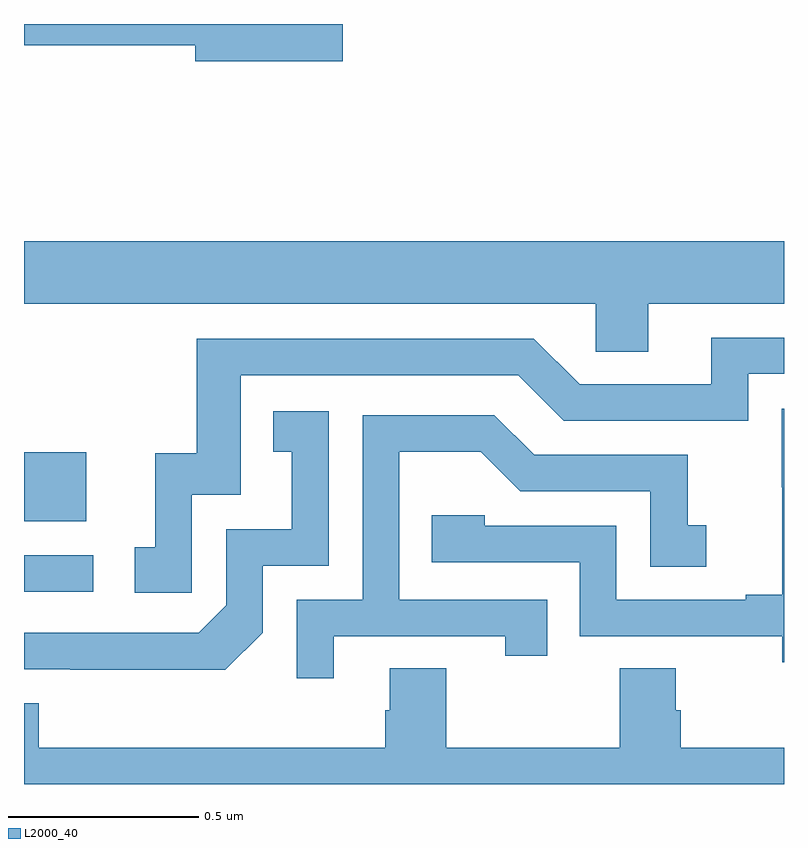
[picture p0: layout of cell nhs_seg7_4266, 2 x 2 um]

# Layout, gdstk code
import gdstk
lib = gdstk.Library(unit=1e-6, precision=1e-09)
def R(c, l, rs):  # rectangles x0, y0, x1, y1
    for r in rs: c.add(gdstk.rectangle(r[:2], r[2:], *l))
def P(c, l, *ps):  # polygons
    for p in ps: c.add(gdstk.Polygon(p, *l))
L2000_40 = (2000, 40)

nhs_seg7_4266 = lib.new_cell('nhs_seg7_4266')
R(nhs_seg7_4266, L2000_40, [(170,1018.506,170.182,1018.602), (170,1018.691,170.164,1018.873)])
P(nhs_seg7_4266, L2000_40, [(170.839,1020),(170,1020),(170,1019.944),(170.45,1019.944),(170.45,1019.902),(170.839,1019.902)],
  [(171.643,1019.264),(172,1019.264),(172,1019.428),(170,1019.428),(170,1019.264),(171.504,1019.264),(171.504,1019.137),(171.643,1019.137)],
  [(170.442,1018.761),(170.571,1018.761),(170.571,1019.076),(171.3,1019.076),(171.42,1018.956),(171.906,1018.956),(171.906,1019.079),(172,1019.079),(172,1019.175),(171.809,1019.175),(171.809,1019.052),(171.462,1019.052),(171.342,1019.172),(170.455,1019.172),(170.455,1018.87),(170.345,1018.87),(170.345,1018.623),(170.292,1018.623),(170.292,1018.503),(170.442,1018.503)],
  [(172,1018.987),(171.994,1018.987),(171.994,1018.781),(171.995,1018.781),(171.995,1018.498),(171.899,1018.498),(171.899,1018.485),(171.558,1018.485),(171.558,1018.68),(171.213,1018.68),(171.213,1018.707),(171.073,1018.707),(171.073,1018.584),(171.462,1018.584),(171.462,1018.389),(171.996,1018.389),(171.996,1018.321),(172,1018.321)],
  [(170.628,1018.398),(170.628,1018.575),(170.802,1018.575),(170.802,1018.981),(170.656,1018.981),(170.656,1018.875),(170.705,1018.875),(170.705,1018.671),(170.532,1018.671),(170.532,1018.47),(170.46,1018.398),(170,1018.398),(170,1018.302),(170.122,1018.302),(170.122,1018.301),(170.53,1018.301)],
  [(170.815,1018.389),(171.266,1018.389),(171.266,1018.338),(171.377,1018.338),(171.377,1018.485),(170.988,1018.485),(170.988,1018.874),(171.202,1018.874),(171.306,1018.77),(171.648,1018.77),(171.648,1018.572),(171.796,1018.572),(171.796,1018.681),(171.747,1018.681),(171.747,1018.866),(171.343,1018.866),(171.238,1018.971),(170.892,1018.971),(170.892,1018.485),(170.718,1018.485),(170.718,1018.278),(170.815,1018.278)],
  [(172,1018.096),(171.728,1018.096),(171.728,1018.194),(171.715,1018.194),(171.715,1018.304),(171.568,1018.304),(171.568,1018.096),(171.111,1018.096),(171.111,1018.304),(170.963,1018.304),(170.963,1018.194),(170.951,1018.194),(170.951,1018.096),(170.039,1018.096),(170.039,1018.213),(170,1018.213),(170,1018),(172,1018)])

lib.write_gds('nhs_seg7_4266.gds')
